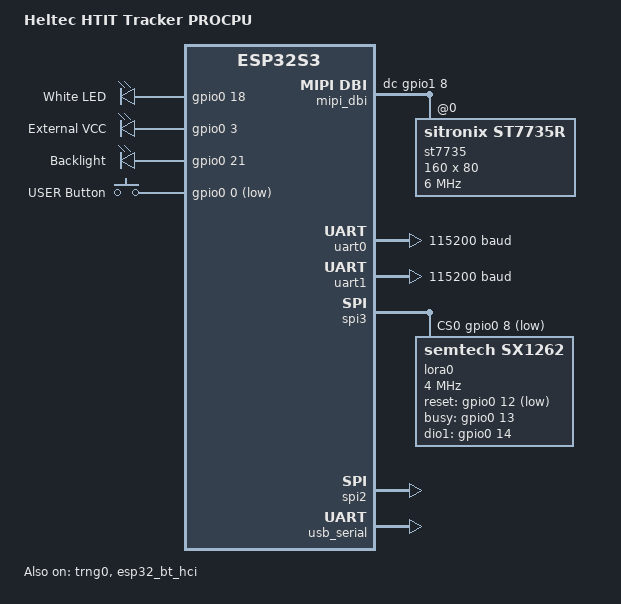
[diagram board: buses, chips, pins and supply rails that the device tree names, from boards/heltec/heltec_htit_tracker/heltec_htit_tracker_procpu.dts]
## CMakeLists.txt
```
cmake_minimum_required(VERSION 3.20.0)

# set(BOARD esp32s3_devkitm)

find_package(Zephyr REQUIRED HINTS $ENV{ZEPHYR_BASE})
project(hyundai_remote)

target_sources(app PRIVATE src/main.c)
```

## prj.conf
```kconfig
# project confgs
```

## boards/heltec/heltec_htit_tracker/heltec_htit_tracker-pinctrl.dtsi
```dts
/*
 * Copyright (c) 2022 Espressif Systems (Shanghai) Co., Ltd.
 *
 * SPDX-License-Identifier: Apache-2.0
 */

#include <zephyr/dt-bindings/pinctrl/esp-pinctrl-common.h>
#include <dt-bindings/pinctrl/esp32s3-pinctrl.h>
#include <zephyr/dt-bindings/pinctrl/esp32s3-gpio-sigmap.h>

&pinctrl {

	uart0_default: uart0_default {
		group1 {
			pinmux = <UART0_TX_GPIO43>;
			output-high;
		};
		group2 {
			pinmux = <UART0_RX_GPIO44>;
			bias-pull-up;
		};
	};

	uart1_default: uart1_default {
		group1 {
			pinmux = <UART1_TX_GPIO33>;
			output-high;
		};

		group2 {
			pinmux = <UART1_RX_GPIO34>;
			bias-pull-up;
		};
	};

	uart2_default: uart2_default {
		group1 {
			pinmux = <UART2_TX_GPIO33>;
			output-high;
		};

		group2 {
			pinmux = <UART2_RX_GPIO34>;
			bias-pull-up;
		};
	};

	spim3_default: spim3_default {
		group1 {
			pinmux = <SPIM3_MISO_GPIO11>,
				 <SPIM3_SCLK_GPIO9>;
		};
		group2 {
			pinmux = <SPIM3_MOSI_GPIO10>;
			output-low;
		};
	};

	spim2_default: spim2_default {
		group1 {
			pinmux = <SPIM2_SCLK_GPIO41>;
		};
		group2 {
			pinmux = <SPIM2_MOSI_GPIO42>;
			output-low;
		};
	};

};
```

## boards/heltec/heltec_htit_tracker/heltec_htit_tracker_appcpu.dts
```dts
/*
 * Copyright (c) 2023 Espressif Systems (Shanghai) Co., Ltd.
 *
 * SPDX-License-Identifier: Apache-2.0
 */
/dts-v1/;

#include <espressif/esp32s3/esp32s3_appcpu.dtsi>
#include <espressif/partitions_0x0_amp.dtsi>

/ {
	model = "Heltec HTIT Tracker APPCPU";
	compatible = "espressif,esp32s3";

	chosen {
		zephyr,sram = &sram1;
		zephyr,ipc_shm = &shm0;
		zephyr,ipc = &ipm0;
		zephyr,flash = &flash0;
		zephyr,code-partition = &slot0_appcpu_partition;
	};
};

&ipm0 {
	status = "okay";
};

&trng0 {
	status = "okay";
};
```

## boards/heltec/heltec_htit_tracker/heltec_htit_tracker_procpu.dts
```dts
/*
 * Copyright (c) 2025 Nate Aquino
 *
 * SPDX-License-Identifier: Apache-2.0
 */
/dts-v1/;

#include <espressif/esp32s3/esp32s3_fn8.dtsi>
#include "heltec_htit_tracker-pinctrl.dtsi"
#include <zephyr/dt-bindings/input/input-event-codes.h>
#include <zephyr/dt-bindings/lora/sx126x.h>
#include <espressif/partitions_0x0_amp.dtsi>

/ {
	model = "Heltec HTIT Tracker PROCPU";
	compatible = "espressif,esp32s3";

	aliases {
		uart-0 = &uart0;
		uart-1 = &uart1;
		led0 = &led0;
		sw0 = &button0;
		watchdog0 = &wdt0;
		lora0 = &lora0;
		st7735 = &st7735;
		vext = &vext;
		blight = &blight;
	};

	leds {
		compatible = "gpio-leds";
		led0: led {
			gpios = <&gpio0 18 GPIO_ACTIVE_HIGH>; 
			label = "White LED";
		};

		vext: vext { 
			gpios = <&gpio0 3 GPIO_ACTIVE_HIGH>; 
			label = "External VCC";
		};

		blight: blight {
			gpios = <&gpio0 21 GPIO_ACTIVE_HIGH>; 
			label = "Backlight";
		};
	};

	buttons {
		compatible = "gpio-keys";
		button0: button_0 {
			gpios = <&gpio0 0 (GPIO_PULL_UP | GPIO_ACTIVE_LOW)>;
			label = "USER Button";
			zephyr,code = <INPUT_KEY_0>;
		};
	};

	mipi_dbi {
		compatible = "zephyr,mipi-dbi-spi";
		dc-gpios = <&gpio1 8 GPIO_ACTIVE_HIGH>;
		spi-dev = <&spi2>;
		#address-cells = <1>;
		#size-cells = <0>;
		status = "okay";

		st7735: st7735@0 {
			compatible = "sitronix,st7735r";
			mipi-max-frequency = <DT_FREQ_M(6)>; // 6 megahertz
			mipi-mode = "MIPI_DBI_MODE_SPI_4WIRE";

			reg = <0>;
			width = <160>;
			height = <80>;
			x-offset = <1>;
			y-offset = <26>;
			madctl = <0x76>; 
			colmod = <0x05>; // color format 16 bits
			vmctr1 = <0x2c>;
			gamctrp1 = [02 1c 07 12 37 32 29 2d 29 25 2B 39 00 01 03 10];
			gamctrn1 = [03 1d 07 06 2E 2C 29 2D 2E 2E 2B 3A 00 01 04 10];
		};
	};

	chosen {
		zephyr,sram = &sram1;
		zephyr,console = &usb_serial;
		zephyr,shell-uart = &usb_serial;
		zephyr,flash = &flash0;
		zephyr,code-partition = &slot0_partition;
		zephyr,bt-hci = &esp32_bt_hci;
		zephyr,display = &st7735;
	};
};

&flash0 {
	reg = <0x0 DT_SIZE_M(4)>;
};

&uart0 {
	status = "okay";
	current-speed = <115200>;
	pinctrl-0 = <&uart0_default>;
	pinctrl-names = "default";
};

&uart1 {
	status = "okay";
	current-speed = <115200>; // default for UC6580
	pinctrl-0 = <&uart1_default>;
	pinctrl-names = "default";
};

&gpio0 {
	status = "okay";
};

&trng0 {
	status = "okay";
};

&spi3 {  // Note: spi3 may be wrong here
    #address-cells = <1>;
    #size-cells = <0>;
    status = "okay";
    pinctrl-0 = <&spim3_default>;
    pinctrl-names = "default";
    cs-gpios = <&gpio0 8 GPIO_ACTIVE_LOW>;
    lora0: lora@0 {
        compatible = "semtech,sx1262";
        reg = <0>;
        reset-gpios = <&gpio0 12 (GPIO_OPEN_DRAIN | GPIO_ACTIVE_LOW)>;
        busy-gpios = <&gpio0 13 GPIO_ACTIVE_HIGH>;
        dio1-gpios = <&gpio0 14 GPIO_ACTIVE_HIGH>; /* SX1262 DIO1 */
		dio2-tx-enable;
		dio3-tcxo-voltage = <SX126X_DIO3_TCXO_1V8>;
		tcxo-power-startup-delay-ms = <5>;
        spi-max-frequency = <4000000>;
    };
};

&spi2 {
	#address-cells = <1>;
    #size-cells = <0>;
	status = "okay";
	pinctrl-0 = <&spim2_default>;
	pinctrl-names = "default";
	cs-gpios = <&gpio1 6 GPIO_ACTIVE_LOW>; // gpio0 38 = gpio1 6
};

&usb_serial {
	status = "okay";
};

&esp32_bt_hci {
	status = "okay";
};
```

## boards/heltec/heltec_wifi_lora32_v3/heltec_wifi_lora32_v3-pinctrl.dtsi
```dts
/*
 * Copyright (c) 2022 Espressif Systems (Shanghai) Co., Ltd.
 *
 * SPDX-License-Identifier: Apache-2.0
 */

#include <zephyr/dt-bindings/pinctrl/esp-pinctrl-common.h>
#include <dt-bindings/pinctrl/esp32s3-pinctrl.h>
#include <zephyr/dt-bindings/pinctrl/esp32s3-gpio-sigmap.h>

&pinctrl {

	uart0_default: uart0_default {
		group1 {
			pinmux = <UART0_TX_GPIO43>;
			output-high;
		};
		group2 {
			pinmux = <UART0_RX_GPIO44>;
			bias-pull-up;
		};
	};

	spim3_default: spim3_default {
		group1 {
			pinmux = <SPIM3_MISO_GPIO11>,
				 <SPIM3_SCLK_GPIO9>;
		};
		group2 {
			pinmux = <SPIM3_MOSI_GPIO10>;
			output-low;
		};
	};

	spim2_default: spim2_default {
		group1 {
			pinmux = <SPIM2_MISO_GPIO39>,
					<SPIM2_SCLK_GPIO37>;
		};

		group2 {
			pinmux = <SPIM2_MOSI_GPIO38>; // dunno
		};
	};

	i2c0_default: i2c0_default {
		group1 {
			pinmux = <I2C0_SDA_GPIO17>,
				 <I2C0_SCL_GPIO18>;
			bias-pull-up;
			drive-open-drain;
			output-high;
		};
	};

};
```

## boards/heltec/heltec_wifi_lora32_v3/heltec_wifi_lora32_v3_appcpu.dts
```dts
/*
 * Copyright (c) 2023 Espressif Systems (Shanghai) Co., Ltd.
 *
 * SPDX-License-Identifier: Apache-2.0
 */
/dts-v1/;

#include <espressif/esp32s3/esp32s3_appcpu.dtsi>
#include <espressif/partitions_0x0_amp.dtsi>

/ {
	model = "Heltec Wi-Fi Lora32 V3 APPCPU";
	compatible = "espressif,esp32s3";

	chosen {
		zephyr,sram = &sram1;
		zephyr,ipc_shm = &shm0;
		zephyr,ipc = &ipm0;
		zephyr,flash = &flash0;
		zephyr,code-partition = &slot0_appcpu_partition;
	};
};

&ipm0 {
	status = "okay";
};

&trng0 {
	status = "okay";
};
```

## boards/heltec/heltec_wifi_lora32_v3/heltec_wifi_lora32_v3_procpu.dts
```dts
/*
 * Copyright (c) 2024 Nate Aquino
 *
 * SPDX-License-Identifier: Apache-2.0
 */
/dts-v1/;

#include <espressif/esp32s3/esp32s3_fn8.dtsi>
#include "heltec_wifi_lora32_v3-pinctrl.dtsi"
#include <zephyr/dt-bindings/input/input-event-codes.h>
#include <zephyr/dt-bindings/lora/sx126x.h>
#include <espressif/partitions_0x0_amp.dtsi>

/ {
	model = "Heltec Wi-Fi Lora32 V3 PROCPU";
	compatible = "espressif,esp32s3";

	aliases {
		uart-0 = &uart0;
		i2c-0 = &i2c0;
		led0 = &led0;
		sw0 = &button0;
		watchdog0 = &wdt0;
		lora0 = &lora0;
		oledrst = &oledrst;
	};

	leds {
		compatible = "gpio-leds";
		led0: led {
			gpios = <&gpio1 3 GPIO_ACTIVE_HIGH>; // GPIO0 35 == GPIO1 3 
			label = "White LED";
		};

		vext: vext { 
			gpios = <&gpio1 4 GPIO_ACTIVE_LOW>; // GPIO0 36 == GPIO1 4
			label = "External VCC";
		};

		oledrst: oledrst {
			gpios = <&gpio0 21 GPIO_ACTIVE_LOW>;
			label = "OLED Reset";
		};
	};

	buttons {
		compatible = "gpio-keys";
		button0: button_0 {
			gpios = <&gpio0 0 (GPIO_PULL_UP | GPIO_ACTIVE_LOW)>;
			label = "PRG Button";
			zephyr,code = <INPUT_KEY_0>;
		};
	};

	chosen {
		zephyr,sram = &sram1;
		zephyr,console = &uart0;
		zephyr,shell-uart = &uart0;
		zephyr,flash = &flash0;
		zephyr,code-partition = &slot0_partition;
		zephyr,bt-hci = &esp32_bt_hci;
		zephyr,display = &ssd1306;
	};
};

&flash0 {
	reg = <0x0 DT_SIZE_M(4)>;
};

&uart0 {
	status = "okay";
	current-speed = <115200>;
	pinctrl-0 = <&uart0_default>;
	pinctrl-names = "default";
};

&gpio0 {
	status = "okay";
};

&trng0 {
	status = "okay";
};

&i2c0 {
	status = "okay";
	clock-frequency = <I2C_BITRATE_FAST>;
	pinctrl-0 = <&i2c0_default>;
	pinctrl-names = "default";

	ssd1306: ssd1306@3c {
		compatible = "solomon,ssd1306fb";
		reg = <0x3c>;
		label = "SSD1306";
		width = <128>;
		height = <64>;
		segment-offset = <0>;
		page-offset = <0>;
		display-offset = <0>;
		com-invdir;
		segment-remap;
		multiplex-ratio = <63>;
		prechargep = <0x22>;
		reset-gpios = <&gpio0 21 GPIO_ACTIVE_LOW>;
	};
};

&spi3 {  // Note: spi3 may be wrong here
    #address-cells = <1>;
    #size-cells = <0>;
    status = "okay";
    pinctrl-0 = <&spim3_default>;
    pinctrl-names = "default";
    cs-gpios = <&gpio0 8 GPIO_ACTIVE_LOW>;
    lora0: lora@0 {
        compatible = "semtech,sx1262";
        reg = <0>;
        reset-gpios = <&gpio0 12 (GPIO_OPEN_DRAIN | GPIO_ACTIVE_LOW)>;
        busy-gpios = <&gpio0 13 GPIO_ACTIVE_HIGH>;
        dio1-gpios = <&gpio0 14 GPIO_ACTIVE_HIGH>; /* SX1262 DIO1 */
		dio2-tx-enable;
		dio3-tcxo-voltage = <SX126X_DIO3_TCXO_1V8>;
		tcxo-power-startup-delay-ms = <5>;
        spi-max-frequency = <4000000>;
    };
};

&spi2 {
	status = "disabled";
};


&esp32_bt_hci {
	status = "okay";
};
```

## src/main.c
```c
#include <zephyr/kernel.h>
#include <zephyr/sys/printk.h>
#include <unistd.h>

int main(void)
{
    for (;;)
    {
        printk("Hello World! This is Zephyr on ESP32-S3 DevKitM.\n");
        k_msleep(500);
    }
    return 0;
}
```
